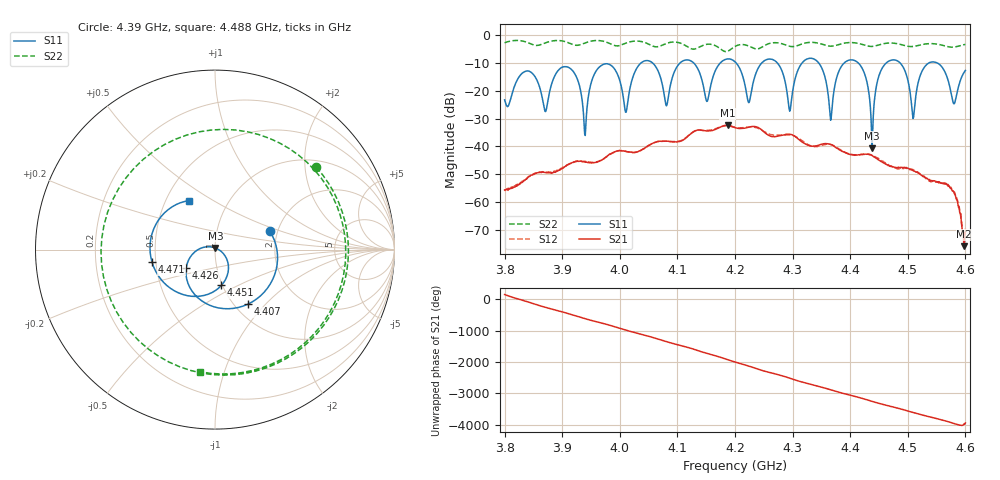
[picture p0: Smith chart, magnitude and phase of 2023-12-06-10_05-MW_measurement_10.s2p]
!Created with skrf (http://scikit-rf.org).
# Hz S RI R 50.0
!freq ReS11 ImS11 ReS21 ImS21 ReS12 ImS12 ReS22 ImS22
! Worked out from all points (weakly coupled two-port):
!   801 points, 3.8 GHz to 4.6 GHz, reference 50 ohm
!   highest |S21| = -32.33 dB at 4.187 GHz (marker M1); lowest = -75.9 dB at 4.598 GHz (marker M2)
!   lowest |S11| = -40.7 dB at 4.438 GHz (marker M3), VSWR 1.02, Z = 50.3 + j0.89 ohm
!   |S11| at or under -10 dB: start of sweep to 4.036 GHz; 4.414 GHz to 4.462 GHz (47.81 MHz wide, 1.08 % of centre); 4.552 GHz to end of sweep (the widest 3 of 9)
!   |S22| runs from -5.8 to -1.8 dB; largest |S21 - S12| = 0.0026
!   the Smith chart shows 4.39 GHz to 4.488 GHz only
!   S11 on the Smith chart (normalised r, x): 4.39 GHz: 1.82, +0.41; 4.407 GHz: 1.15, -0.80; 4.426 GHz: 0.71, -0.15; 4.451 GHz: 0.99, -0.41; 4.471 GHz: 0.48, -0.08; 4.488 GHz: 0.66, +0.40
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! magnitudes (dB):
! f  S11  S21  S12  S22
! 3.8 GHz  -23.2  -55.7  -55.6  -2.6
! 3.905 GHz  -11.2  -47.2  -47.1  -2.2
! 3.934 GHz  -22.4  -45.5  -45.3  -3.2
! 4.067 GHz  -13.1  -38.2  -38.2  -4.0
! 4.152 GHz  -23.7  -34.4  -34.2  -3.2
! 4.187 GHz  -8.5  -32.3  -32.6  -5.7
! 4.2 GHz  -9.5  -33.2  -33.2  -4.0
! 4.295 GHz  -27.3  -35.6  -35.9  -3.9
! 4.334 GHz  -8.3  -39.9  -40.0  -2.5
! 4.366 GHz  -30.6  -39.3  -39.2  -3.9
! 4.39 GHz  -9.8  -42.1  -42.0  -2.8
! 4.407 GHz  -9.0  -43.2  -43.0  -2.6
! 4.426 GHz  -14.5  -42.8  -42.8  -3.6
! 4.438 GHz  -40.7  -43.3  -43.2  -4.0
! 4.451 GHz  -13.9  -45.0  -44.6  -3.3
! 4.467 GHz  -9.3  -46.9  -46.8  -2.7
! 4.471 GHz  -8.9  -47.0  -47.2  -2.7
! 4.488 GHz  -10.2  -47.5  -48.0  -3.3
! 4.509 GHz  -29.9  -48.7  -48.4  -4.0
! 4.535 GHz  -10.1  -51.9  -52.1  -3.0
! 4.598 GHz  -13.2  -75.9  -73.2  -3.3
! 4.6 GHz  -12.6  -70.6  -69.7  -3.2
